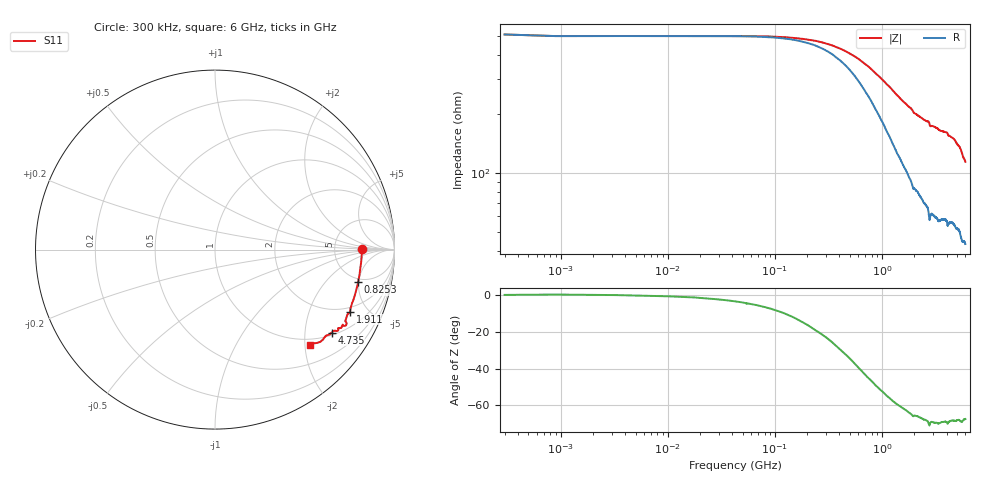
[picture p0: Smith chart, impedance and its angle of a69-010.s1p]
!  3/12/2021  07:47:54
! Ref Plane: 23.990 mm
# MHZ S MA R  50
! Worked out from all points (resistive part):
!   10001 points, 300 kHz to 6 GHz, reference 50 ohm
!   read as one part to ground: R = 498 ohm at 30.3 MHz
!   S11 on the Smith chart (normalised r, x): 300 kHz: 10, +0; 825.3 MHz: 4.45, -4.89; 1.911 GHz: 1.74, -3.82; 4.735 GHz: 1.08, -2.75; 6 GHz: 0.87, -2.11
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0.3  0.8207 0.1
384.2808  0.8167 -6.3
750.2625  0.818 -11.8
825.2588  0.8174 -12.9
1115.644  0.819 -16.7
1500.225  0.8197 -21.0
1911.205  0.8273 -24.7
2010.8  0.8225 -25.7
2250.188  0.8235 -27.0
2564.572  0.8269 -28.6
2676.766  0.8306 -28.9
2744.563  0.8412 -29.4
2791.36  0.8372 -30.5
2845.958  0.8263 -30.6
3000.15  0.8269 -30.6
3380.531  0.8263 -31.9
3750.113  0.8162 -32.5
3907.305  0.814 -32.6
4064.497  0.8199 -33.0
4111.894  0.8177 -33.7
4176.091  0.81 -34.0
4500.075  0.8003 -34.6
4734.663  0.7981 -35.5
5250.038  0.7823 -38.2
5452.227  0.783 -39.9
5642.418  0.7723 -42.2
5760.612  0.7608 -43.3
6000  0.7496 -45.2
